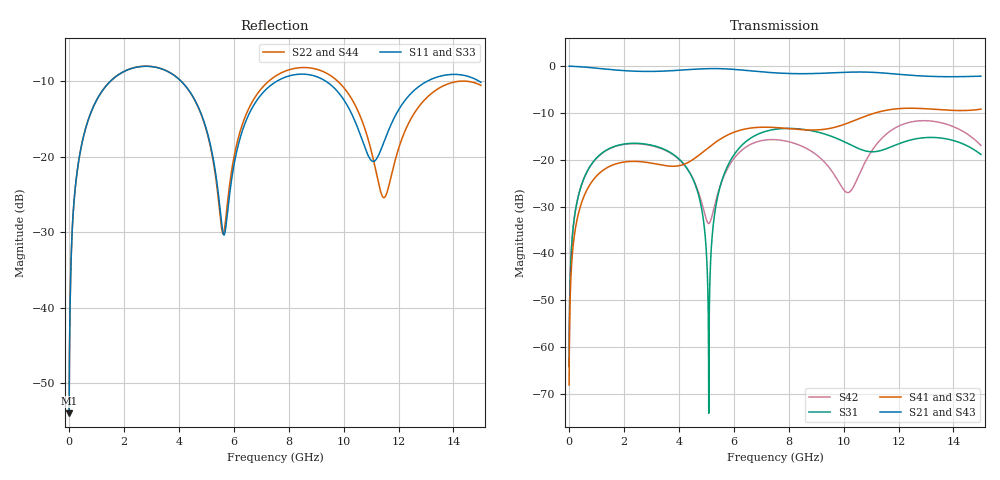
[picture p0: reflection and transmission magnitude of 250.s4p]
! Created with skrf 1.8.0 (http://scikit-rf.org).
# GHz S RI R 50.0
!freq ReS11 ImS11 ReS12 ImS12 ReS13 ImS13
! ReS14 ImS14
! ReS21 ImS21 ReS22 ImS22 ReS23 ImS23
! ReS24 ImS24
! ReS31 ImS31 ReS32 ImS32 ReS33 ImS33
! ReS34 ImS34
! ReS41 ImS41 ReS42 ImS42 ReS43 ImS43
! ReS44 ImS44
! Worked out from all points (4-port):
!   2499 points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, 5 MHz to 15 GHz, reference 50 ohm
!   strongest paths, dB at 5 MHz, 3.476 GHz, 7.19 GHz, 11.1 GHz, 15 GHz:
!     S21: 0.0, -1.1, -1.3, -1.3, -2.2
!     S43: 0.0, -1.1, -1.3, -1.3, -2.1
!     S41: -68.1, -21.2, -13.0, -10.1, -9.2
!     S32: -68.1, -21.2, -13.0, -10.1, -9.2
!     S31: -64.2, -17.8, -13.9, -18.3, -18.9
!     S42: -64.2, -17.9, -15.7, -17.5, -17.0
!   lowest |S11| = -53.9 dB at 5 MHz (marker M1), VSWR 1.00, Z = 50.2 + j0.122 ohm
!   |S11| at or under -10 dB: start of sweep to 1.517 GHz; 4.077 GHz to 7.579 GHz (3.502 GHz wide, 60.1 % of centre); 9.343 GHz to 13.06 GHz (3.715 GHz wide, 33.2 % of centre) (the widest 3 of 4)
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0.005  0.0016 0.00122  0.9984 -0.00311  7.94e-05 0.000612  -7.72e-05 -0.000387
       0.9984 -0.00311  0.0016 0.00122  -7.72e-05 -0.000387  7.93e-05 0.000612
       7.94e-05 0.000612  -7.72e-05 -0.000387  0.0016 0.00122  0.9984 -0.00311
       -7.72e-05 -0.000387  7.93e-05 0.000612  0.9984 -0.00311  0.0016 0.00122
0.3126303  0.023 0.0803  0.9687 -0.1937  0.0103 0.0364  -0.00851 -0.0228
           0.9687 -0.1937  0.023 0.0803  -0.00851 -0.0228  0.0101 0.0365
           0.0103 0.0364  -0.00851 -0.0228  0.023 0.0803  0.9687 -0.1937
           -0.00851 -0.0228  0.0101 0.0365  0.9687 -0.1937  0.023 0.0803
1.569404  0.2663 0.1824  0.559 -0.7249  0.1229 0.0581  -0.0871 -0.00798
          0.559 -0.7249  0.2672 0.1817  -0.0871 -0.00796  0.1202 0.0615
          0.1229 0.0581  -0.0871 -0.00796  0.2662 0.1824  0.559 -0.7249
          -0.0871 -0.00798  0.1202 0.0615  0.559 -0.7249  0.2672 0.1817
5.089621  0.0651 -0.1161  -0.8729 -0.3482  0.000193 -3.58e-05  -0.0466 0.1275
          -0.8729 -0.3482  0.0632 -0.1138  -0.0461 0.1277  -0.0201 -0.00577
          0.000193 -3.58e-05  -0.0461 0.1277  0.0661 -0.1152  -0.873 -0.3482
          -0.0466 0.1275  -0.0201 -0.00577  -0.873 -0.3482  0.0619 -0.1137
5.933722  0.0445 0.0578  -0.9186 0.1153  0.0577 0.0871  0.0354 0.1896
          -0.9186 0.1153  0.049 0.067  0.0362 0.1893  0.00987 0.0958
          0.0577 0.0871  0.0362 0.1893  0.0462 0.058  -0.9186 0.1152
          0.0354 0.1896  0.00987 0.0958  -0.9186 0.1152  0.0473 0.0678
8.747395  0.3475 -0.0212  0.0227 0.8307  0.1265 -0.1631  0.1983 -0.0628
          0.0227 0.8307  0.382 -0.0608  0.198 -0.0636  0.1271 -0.00865
          0.1265 -0.1631  0.198 -0.0636  0.3476 -0.0225  0.022 0.8307
          0.1983 -0.0628  0.1271 -0.00865  0.022 0.8307  0.3822 -0.0588
15  0.2928 -0.1026  -0.1931 -0.756  0.0319 -0.1096  -0.3265 0.1174
    -0.1931 -0.756  0.2861 -0.0771  -0.3254 0.1195  0.0474 -0.1338
    0.0319 -0.1096  -0.3254 0.1195  0.2838 -0.1071  -0.192 -0.7588
    -0.3265 0.1174  0.0474 -0.1338  -0.192 -0.7588  0.281 -0.0673
